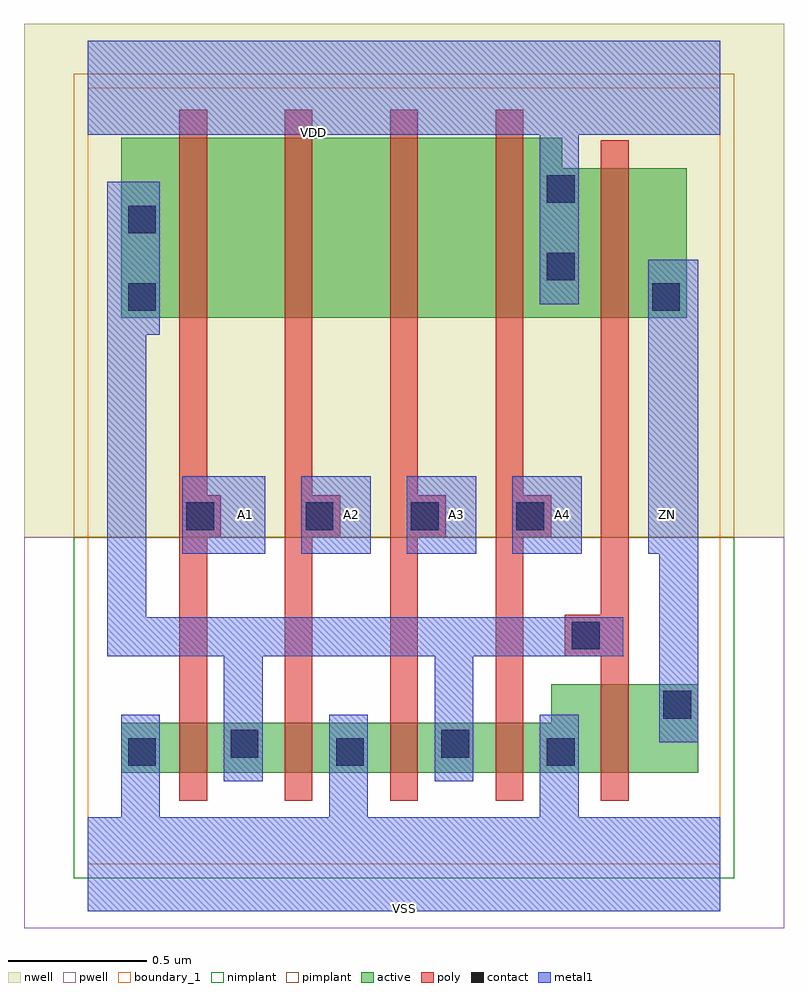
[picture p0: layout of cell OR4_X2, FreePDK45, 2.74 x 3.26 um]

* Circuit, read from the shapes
.subckt OR4_X2 A1 A2 A3 A4 VDD VSS ZN
M1 n1 A1 VSS VSUBS nfet w=0.18u l=0.1u
M2 VSS A2 n1 VSUBS nfet w=0.18u l=0.1u
M3 n1 A3 VSS VSUBS nfet w=0.18u l=0.1u
M4 VSS A4 n1 VSUBS nfet w=0.18u l=0.1u
M5 ZN n1 VSS VSUBS nfet w=0.32u l=0.1u
M6 n2 A1 n1 n3 pfet w=0.65u l=0.1u
M7 n4 A2 n2 n3 pfet w=0.65u l=0.1u
M8 n5 A3 n4 n3 pfet w=0.65u l=0.1u
M9 VDD A4 n5 n3 pfet w=0.65u l=0.1u
M10 ZN n1 VDD n3 pfet w=0.54u l=0.1u
.ends

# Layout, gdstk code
import gdstk
lib = gdstk.Library(unit=1e-6, precision=1e-09)
def R(c, l, rs):  # rectangles x0, y0, x1, y1
    for r in rs: c.add(gdstk.rectangle(r[:2], r[2:], *l))
def A(c, l, x, y, w, h, nx, ny, dx, dy):  # array of equal rectangles
    R(c, l, [(x+i*dx, y+j*dy, x+i*dx+w, y+j*dy+h) for i in range(nx) for j in range(ny)])
def P(c, l, *ps):  # polygons
    for p in ps: c.add(gdstk.Polygon(p, *l))
active = (1, 0)
pwell = (2, 0)
nwell = (3, 0)
nimplant = (4, 0)
pimplant = (5, 0)
poly = (9, 0)
contact = (10, 0)
metal1 = (11, 0)
boundary_1 = (235, 1)

or4_x2 = lib.new_cell('OR4_X2')
P(or4_x2, active, [(0.12,0.33),(2.2,0.33),(2.2,0.65),(1.67,0.65),(1.67,0.51),(0.12,0.51)],
  [(0.12,1.97),(2.16,1.97),(2.16,2.51),(1.71,2.51),(1.71,2.62),(0.12,2.62)])
R(or4_x2, pwell, [(-0.23,-0.23,2.51,1.18)])
R(or4_x2, nwell, [(-0.23,1.18,2.51,3.03)])
R(or4_x2, nimplant, [(-0.05,-0.05,2.33,1.18)])
R(or4_x2, pimplant, [(-0.05,1.18,2.33,2.85)])
P(or4_x2, poly, [(1.72,0.75),(1.85,0.75),(1.85,0.23),(1.95,0.23),(1.95,2.61),(1.85,2.61),(1.85,0.9),(1.72,0.9)],
  [(1.47,0.23),(1.57,0.23),(1.57,1.18),(1.67,1.18),(1.67,1.33),(1.57,1.33),(1.57,2.72),(1.47,2.72)],
  [(1.09,0.23),(1.19,0.23),(1.19,1.18),(1.29,1.18),(1.29,1.33),(1.19,1.33),(1.19,2.72),(1.09,2.72)],
  [(0.71,0.23),(0.81,0.23),(0.81,1.18),(0.91,1.18),(0.91,1.33),(0.81,1.33),(0.81,2.72),(0.71,2.72)],
  [(0.33,0.23),(0.43,0.23),(0.43,1.18),(0.48,1.18),(0.48,1.33),(0.43,1.33),(0.43,2.72),(0.33,2.72)])
A(or4_x2, contact, 0.785, 1.205, 0.1, 0.1, 3, 1, 0.38, 0)
R(or4_x2, contact, [(0.145,0.355,0.245,0.455), (0.895,0.355,0.995,0.455), (1.655,0.355,1.755,0.455), (0.515,0.385,0.615,0.485), (1.275,0.385,1.375,0.485), (2.075,0.525,2.175,0.625), (1.745,0.775,1.845,0.875), (0.355,1.205,0.455,1.305), (0.145,1.995,0.245,2.095), (2.035,1.995,2.135,2.095), (1.655,2.105,1.755,2.205), (0.145,2.275,0.245,2.375), (1.655,2.385,1.755,2.485)])
R(or4_x2, metal1, [(0.34,1.12,0.64,1.4), (0.34,1.12,0.64,1.4), (0.77,1.12,1.02,1.4), (0.77,1.12,1.02,1.4), (1.15,1.12,1.4,1.4), (1.15,1.12,1.4,1.4), (1.53,1.12,1.78,1.4), (1.53,1.12,1.78,1.4)])
P(or4_x2, metal1, [(2.02,1.12),(2.06,1.12),(2.06,0.44),(2.2,0.44),(2.2,2.18),(2.02,2.18)],
  [(0,-0.17),(2.28,-0.17),(2.28,0.17),(1.77,0.17),(1.77,0.54),(1.63,0.54),(1.63,0.17),(1.01,0.17),(1.01,0.54),(0.87,0.54),(0.87,0.17),(0.26,0.17),(0.26,0.54),(0.12,0.54),(0.12,0.17),(0,0.17)],
  [(0,2.63),(1.63,2.63),(1.63,2.02),(1.77,2.02),(1.77,2.63),(2.28,2.63),(2.28,2.97),(0,2.97)],
  [(0,2.63),(1.63,2.63),(1.63,2.02),(1.77,2.02),(1.77,2.63),(2.28,2.63),(2.28,2.97),(0,2.97)],
  [(0,-0.17),(2.28,-0.17),(2.28,0.17),(1.77,0.17),(1.77,0.54),(1.63,0.54),(1.63,0.17),(1.01,0.17),(1.01,0.54),(0.87,0.54),(0.87,0.17),(0.26,0.17),(0.26,0.54),(0.12,0.54),(0.12,0.17),(0,0.17)],
  [(2.02,1.12),(2.06,1.12),(2.06,0.44),(2.2,0.44),(2.2,2.18),(2.02,2.18)],
  [(0.07,0.75),(0.49,0.75),(0.49,0.3),(0.63,0.3),(0.63,0.75),(1.25,0.75),(1.25,0.3),(1.39,0.3),(1.39,0.75),(1.93,0.75),(1.93,0.89),(0.21,0.89),(0.21,1.91),(0.26,1.91),(0.26,2.46),(0.07,2.46)])
R(or4_x2, boundary_1, [(0,0,2.28,2.8)])
or4_x2.add(gdstk.Label('ZN', (2.09,1.26), layer=11, texttype=0))
or4_x2.add(gdstk.Label('VSS', (1.14,-0.16), layer=11, texttype=0))
or4_x2.add(gdstk.Label('VDD', (0.815,2.64), layer=11, texttype=0))
or4_x2.add(gdstk.Label('A4', (1.71,1.26), layer=11, texttype=0))
or4_x2.add(gdstk.Label('A3', (1.33,1.26), layer=11, texttype=0))
or4_x2.add(gdstk.Label('A2', (0.95,1.26), layer=11, texttype=0))
or4_x2.add(gdstk.Label('A1', (0.57,1.26), layer=11, texttype=0))

lib.write_gds('OR4_X2.gds')
